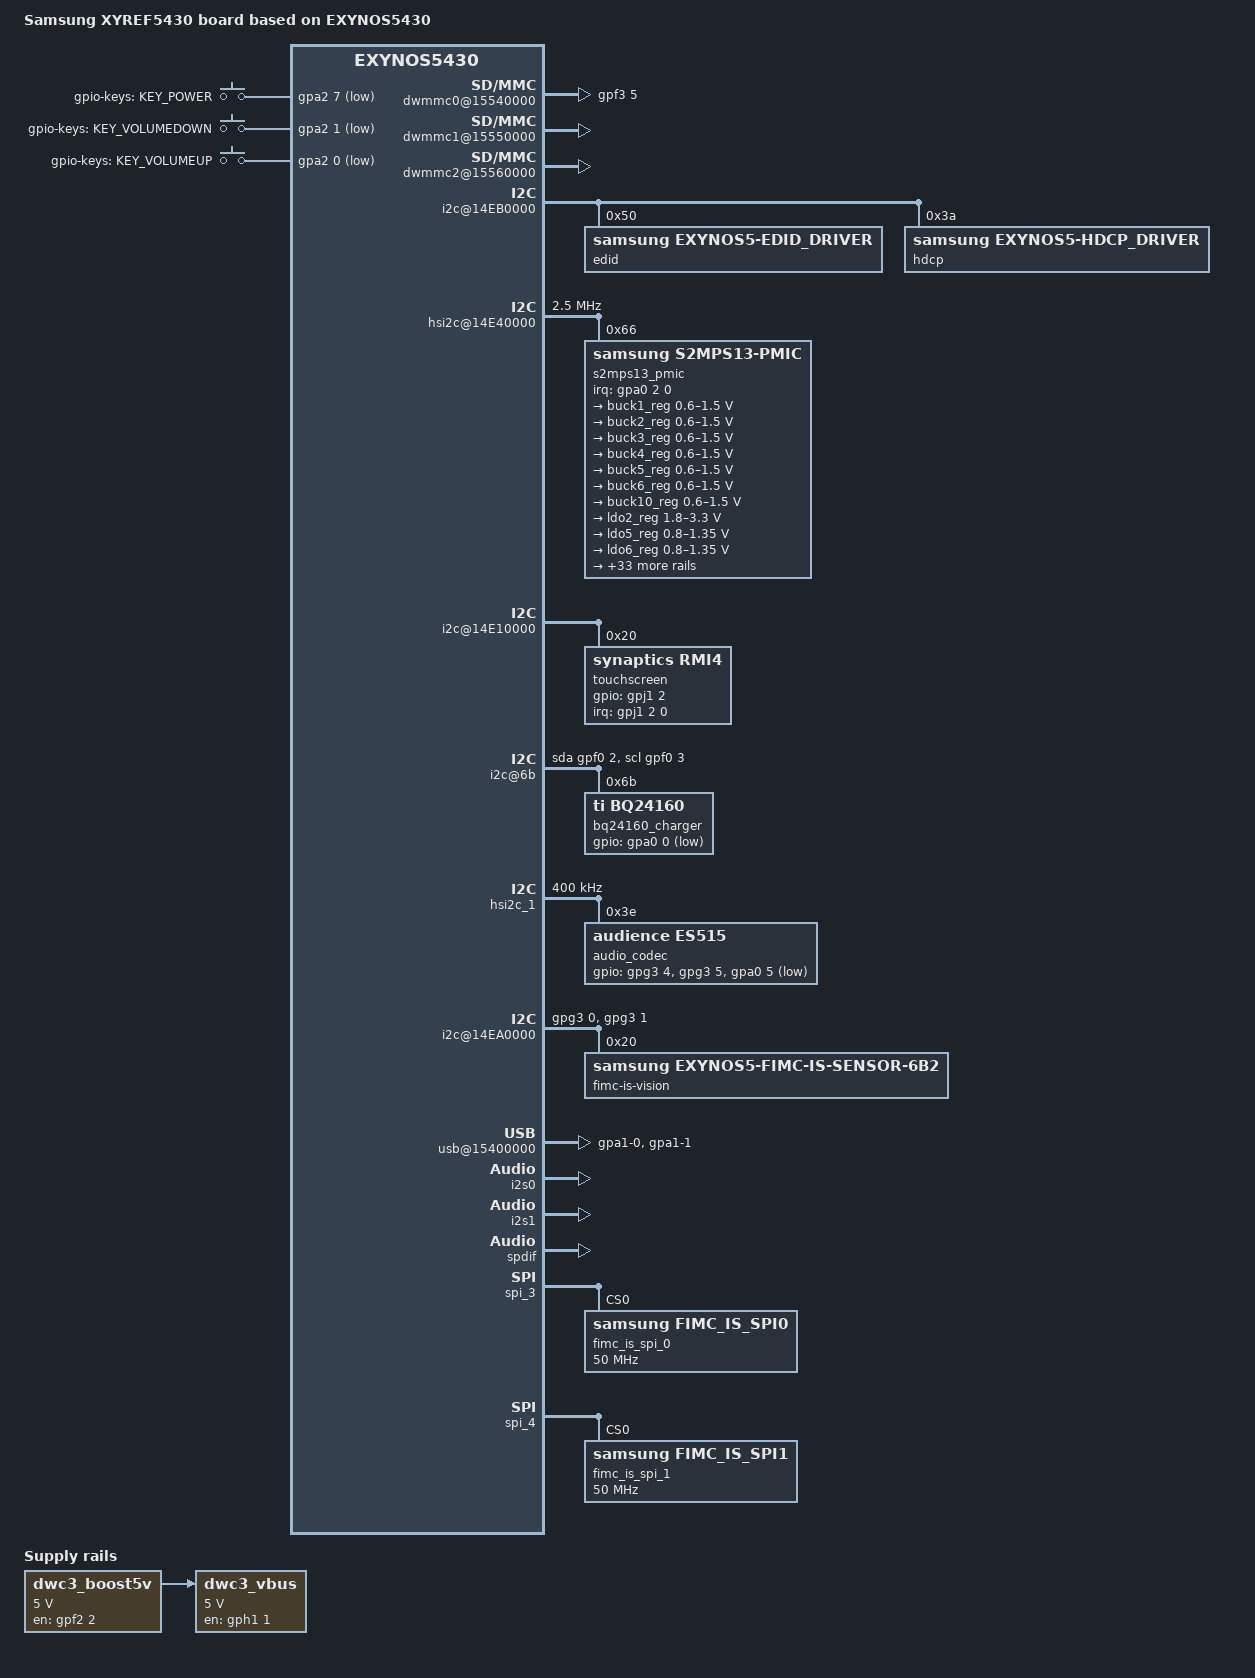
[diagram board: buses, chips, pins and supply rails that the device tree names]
/*
 * SAMSUNG XYREF5430 board device tree source
 *
 * Copyright (c) 2013 Samsung Electronics Co., Ltd.
 *		http://www.samsung.com
 *
 * This program is free software; you can redistribute it and/or modify
 * it under the terms of the GNU General Public License version 2 as
 * published by the Free Software Foundation.
*/

/dts-v1/;
#include "exynos5430.dtsi"

/ {
	model = "Samsung XYREF5430 board based on EXYNOS5430";
	compatible = "samsung,XYREF5430", "samsung,exynos5430";

	chosen {
		bootargs = "console=ttySAC2,115200 vmalloc=512M ess_setup=0x26000000 noexec=on";
	};

	fixed-rate-clocks {
		oscclk {
			compatible = "samsung,exynos5430-oscclk";
			clock-frequency = <24000000>;
		};
	};

	rtc {
		status = "okey";
	};

	dwmmc0@15540000 {
		status = "okay";
		num-slots = <1>;
		broken-cd;
		bypass-smu;
		fixed_volt;
		only_once_tune;
		extra_tuning;
		supports-highspeed;
		enable-cache-control;
		qos_int_level = <138000>;
		fifo-depth = <0x80>;
		card-detect-delay = <200>;
		samsung,dw-mshc-ciu-div = <3>;
		samsung,dw-mshc-sdr-timing = <1 2 3>;
		samsung,dw-mshc-ddr-timing = <2 3 3>;
		samsung,dw-mshc-hs200-timing = <0 3 3>;
		samsung,dw-mshc-ddr200-timing = <0 6 1>;
		samsung,dw-mshc-ddr200-delay-line = <100>;
		clk_pin = "gpr0-0";
		clk_addr = "15690000.pinctrl";
		clk_val = <0x3>;
		clk_str_num = <6>;
		num-ref-clks = <8>;
		ciu_clkin = <25 50 50 100 200 100 200 400>;
		pinctrl-names = "default";
		pinctrl-0 = <&sd0_clk &sd0_cmd &sd0_rdqs &sd0_bus1 &sd0_bus4 &sd0_bus8>;
		gpios = <&gpf3 5 0>;

		slot@0 {
			reg = <0>;
			bus-width = <8>;
		};
	};

	dwmmc1@15550000 {
		status = "okay";
		num-slots = <1>;
		fixed_volt;
		only_once_tune;
		supports-highspeed;
		qos_int_level = <133>;
		fifo-depth = <0x40>;
		card-detect-delay = <200>;
		samsung,dw-mshc-ciu-div = <3>;
		samsung,dw-mshc-sdr-timing = <1 2 3>;
		samsung,dw-mshc-ddr-timing = <2 3 3>;
		num-ref-clks = <8>;
		ciu_clkin = <25 50 50 100 200 100 200 400>;
		pinctrl-names = "default";
		pinctrl-0 = <&sd1_clk &sd1_cmd &sd1_bus1 &sd1_bus4>;

		slot@0 {
			reg = <0>;
			bus-width = <4>;
		};
	};


	dwmmc2@15560000 {
		status = "okay";
		num-slots = <1>;
		supports-highspeed;
		qos_int_level = <133>;
		cd-type = <1>;
		fifo-depth = <0x40>;
		card-detect-delay = <200>;
		samsung,dw-mshc-ciu-div = <3>;
		samsung,dw-mshc-sdr-timing = <1 2 3>;
		samsung,dw-mshc-ddr-timing = <2 3 3>;
		clk_pin = "gpr4-0";
		clk_addr = "15690000.pinctrl";
		clk_val = <0x2>;
		clk_str_num = <6>;
		num-ref-clks = <8>;
		ciu_clkin = <25 50 50 100 200 100 200 400>;
		pinctrl-names = "default";
		pinctrl-0 = <&sd2_clk &sd2_cmd &sd2_cd &sd2_bus1 &sd2_bus4>;

		slot@0 {
			reg = <0>;
			bus-width = <4>;
			disable-wp;
		};
	};

	pinctrl@10580000 {
		chg_irq: chg-irq {
			samsung,pins = "gpa0-0";
			samsung,pin-function = <0>;
			samsung,pin-pud = <3>;
			samsung,pin-drv = <3>;
		};

		pmic_irq: pmic-irq {
			samsung,pins = "gpa0-2";
			samsung,pin-pud = <3>;
			samsung,pin-drv = <3>;
		};
	};

	pinctrl@14CC0000 {
		/* Warm reset information from AP */
		pm_wrsti: pm-wrsti {
			samsung,pins = "gpf5-4";
			samsung,pin-con-pdn = <3>;
		};
	};

	i2c@14EB0000 {
		status = "okay";
		samsung,i2c-sda-delay = <500>;
		/* hdmi edid dirver */
		edid@50 {
			compatible = "samsung,exynos5-edid_driver";
			reg = <0x50>;
		};

		/* hdmi hdcp dirver */
		hdcp@3A {
			compatible = "samsung,exynos5-hdcp_driver";
			reg = <0x3A>;
		};
	};

	hsi2c@14E40000 {
		samsung,hs-mode;
		clock-frequency = <2500000>;
		status = "okay";

		s2mps13_pmic@66 {
			compatible = "samsung,s2mps13-pmic";
			reg = <0x66>;
			interrupts = <2 0 0>;
			interrupt-parent = <&gpa0>;
			pinctrl-names = "default";
			pinctrl-0 = <&pmic_irq &pm_wrsti>;
			wtsr_smpl = <1>;

			regulators {
				buck1_reg: BUCK1 {
					regulator-name = "vdd_mif";
					regulator-min-microvolt = <600000>;
					regulator-max-microvolt = <1500000>;
					regulator-always-on;
					regulator-boot-on;
					regulator-ramp-delay = <12000>;
					regulator-initial-mode = <1>;
				};

				buck2_reg: BUCK2 {
					regulator-name = "vdd_eagle";
					regulator-min-microvolt = <600000>;
					regulator-max-microvolt = <1500000>;
					regulator-always-on;
					regulator-boot-on;
					regulator-ramp-delay = <12000>;
					regulator-initial-mode = <1>;
				};

				buck3_reg: BUCK3 {
					regulator-name = "vdd_kfc";
					regulator-min-microvolt = <600000>;
					regulator-max-microvolt = <1500000>;
					regulator-always-on;
					regulator-boot-on;
					regulator-ramp-delay = <12000>;
					regulator-initial-mode = <1>;
				};

				buck4_reg: BUCK4 {
					regulator-name = "vdd_int";
					regulator-min-microvolt = <600000>;
					regulator-max-microvolt = <1500000>;
					regulator-always-on;
					regulator-boot-on;
					regulator-ramp-delay = <12000>;
					regulator-initial-mode = <1>;
				};

				buck5_reg: BUCK5 {
					regulator-name = "vdd_disp_cam0";
					regulator-min-microvolt = <600000>;
					regulator-max-microvolt = <1500000>;
					regulator-always-on;
					regulator-boot-on;
					regulator-ramp-delay = <12000>;
					regulator-initial-mode = <1>;
				};

				buck6_reg: BUCK6 {
					regulator-name = "vdd_g3d";
					regulator-min-microvolt = <600000>;
					regulator-max-microvolt = <1500000>;
					regulator-always-on;
					regulator-boot-on;
					regulator-ramp-delay = <12000>;
					regulator-initial-mode = <1>;
				};

				buck10_reg: BUCK10 {
					regulator-name = "vdd_mem2";
					regulator-min-microvolt = <600000>;
					regulator-max-microvolt = <1500000>;
					regulator-always-on;
					regulator-boot-on;
					regulator-ramp-delay = <12000>;
					regulator-initial-mode = <1>;
				};

				ldo2_reg: LDO2 {
					regulator-name = "vqmmc";
					regulator-min-microvolt = <1800000>;
					regulator-max-microvolt = <3300000>;
					regulator-boot-on;
					regulator-ramp-delay = <12000>;
					regulator-initial-mode = <1>;
				};

				ldo5_reg: LDO5 {
					regulator-name = "vdd_ldo5";
					regulator-min-microvolt = <800000>;
					regulator-max-microvolt = <1350000>;
					regulator-always-on;
					regulator-initial-mode = <1>;
				};

				ldo6_reg: LDO6 {
					regulator-name = "vdd_ldo6";
					regulator-min-microvolt = <800000>;
					regulator-max-microvolt = <1350000>;
					regulator-always-on;
					regulator-initial-mode = <1>;
				};

				ldo7_reg: LDO7 {
					regulator-name = "vdd_ldo7";
					regulator-min-microvolt = <1000000>;
					regulator-max-microvolt = <2100000>;
					regulator-always-on;
					regulator-initial-mode = <1>;
				};

				ldo8_reg: LDO8 {
					regulator-name = "vdd_ldo8";
					regulator-min-microvolt = <1000000>;
					regulator-max-microvolt = <2100000>;
					regulator-always-on;
					regulator-initial-mode = <3>;
				};

				ldo9_reg: LDO9 {
					regulator-name = "vdd_ldo9";
					regulator-min-microvolt = <1000000>;
					regulator-max-microvolt = <2100000>;
					regulator-always-on;
					regulator-initial-mode = <1>;
				};

				ldo10_reg: LDO10 {
					regulator-name = "vdd_ldo10";
					regulator-min-microvolt = <1400000>;
					regulator-max-microvolt = <3400000>;
					regulator-always-on;
					regulator-initial-mode = <1>;
				};

				ldo11_reg: LDO11 {
					regulator-name = "vdd_ldo11";
					regulator-min-microvolt = <800000>;
					regulator-max-microvolt = <1350000>;
					regulator-always-on;
					regulator-initial-mode = <1>;
				};

				ldo12_reg: LDO12 {
					regulator-name = "vdd_ldo12";
					regulator-min-microvolt = <800000>;
					regulator-max-microvolt = <1350000>;
					regulator-always-on;
					regulator-initial-mode = <1>;
				};

				ldo13_reg: LDO13 {
					regulator-name = "vdd_ldo13";
					regulator-min-microvolt = <800000>;
					regulator-max-microvolt = <1350000>;
					regulator-always-on;
					regulator-initial-mode = <1>;
				};

				ldo14_reg: LDO14 {
					regulator-name = "vdd_ldo14";
					regulator-min-microvolt = <800000>;
					regulator-max-microvolt = <1350000>;
					regulator-always-on;
					regulator-initial-mode = <1>;
				};

				ldo15_reg: LDO15 {
					regulator-name = "vdd_ldo15";
					regulator-min-microvolt = <800000>;
					regulator-max-microvolt = <1350000>;
					regulator-always-on;
					regulator-initial-mode = <1>;
				};

				ldo16_reg: LDO16 {
					regulator-name = "vdd_ldo16";
					regulator-min-microvolt = <1400000>;
					regulator-max-microvolt = <3400000>;
					regulator-always-on;
					regulator-initial-mode = <1>;
				};

				ldo17_reg: LDO17 {
					regulator-name = "vdd_vmmc";
					regulator-min-microvolt = <1400000>;
					regulator-max-microvolt = <3400000>;
					regulator-always-on;
					regulator-initial-mode = <1>;
				};

				ldo18_reg: LDO18 {
					regulator-name = "vdd_ldo18";
					regulator-min-microvolt = <1000000>;
					regulator-max-microvolt = <2100000>;
					regulator-initial-mode = <3>;
				};

				ldo19_reg: LDO19 {
					regulator-name = "vdd_ldo19";
					regulator-min-microvolt = <1000000>;
					regulator-max-microvolt = <2100000>;
					regulator-always-on;
					regulator-initial-mode = <3>;
				};

				ldo20_reg: LDO20 {
					regulator-name = "vdd_ldo20";
					regulator-min-microvolt = <1400000>;
					regulator-max-microvolt = <3400000>;
					regulator-always-on;
					regulator-initial-mode = <3>;
				};

				ldo21_reg: LDO21 {
					regulator-name = "vdd_ldo21";
					regulator-min-microvolt = <1000000>;
					regulator-max-microvolt = <2100000>;
					regulator-always-on;
					regulator-initial-mode = <3>;
				};

				ldo22_reg: LDO22 {
					regulator-name = "vdd_ldo22";
					regulator-min-microvolt = <1000000>;
					regulator-max-microvolt = <2100000>;
					regulator-always-on;
					regulator-initial-mode = <3>;
				};

				ldo23_reg: LDO23 {
					regulator-name = "vdd_ldo23";
					regulator-min-microvolt = <800000>;
					regulator-max-microvolt = <1350000>;
					regulator-always-on;
					regulator-initial-mode = <3>;
				};

				ldo24_reg: LDO24 {
					regulator-name = "vdd_ldo24";
					regulator-min-microvolt = <800000>;
					regulator-max-microvolt = <1350000>;
					regulator-always-on;
					regulator-initial-mode = <3>;
				};

				ldo25_reg: LDO25 {
					regulator-name = "vdd_ldo25";
					regulator-min-microvolt = <1400000>;
					regulator-max-microvolt = <3400000>;
					regulator-always-on;
					regulator-initial-mode = <3>;
				};

				ldo26_reg: LDO26 {
					regulator-name = "vdd_ldo26";
					regulator-min-microvolt = <1400000>;
					regulator-max-microvolt = <3400000>;
					regulator-always-on;
					regulator-initial-mode = <3>;
				};

				ldo27_reg: LDO27 {
					regulator-name = "vdd_ldo27";
					regulator-min-microvolt = <1400000>;
					regulator-max-microvolt = <3400000>;
					regulator-always-on;
					regulator-initial-mode = <3>;
				};

				ldo28_reg: LDO28 {
					regulator-name = "vdd_ldo28";
					regulator-min-microvolt = <1000000>;
					regulator-max-microvolt = <2100000>;
					regulator-always-on;
					regulator-initial-mode = <3>;
				};

				ldo29_reg: LDO29 {
					regulator-name = "vdd_ldo29";
					regulator-min-microvolt = <1400000>;
					regulator-max-microvolt = <3400000>;
					regulator-always-on;
					regulator-initial-mode = <3>;
				};

				ldo30_reg: LDO30 {
					regulator-name = "tsp_avdd";
					regulator-min-microvolt = <1400000>;
					regulator-max-microvolt = <3400000>;
					regulator-always-on;
					regulator-initial-mode = <3>;
				};

				ldo31_reg: LDO31 {
					regulator-name = "tsp_io";
					regulator-min-microvolt = <1000000>;
					regulator-max-microvolt = <2100000>;
					regulator-always-on;
					regulator-initial-mode = <3>;
				};

				ldo32_reg: LDO32 {
					regulator-name = "vdd_ldo32";
					regulator-min-microvolt = <1000000>;
					regulator-max-microvolt = <2100000>;
					regulator-always-on;
					regulator-initial-mode = <3>;
				};

				ldo33_reg: LDO33 {
					regulator-name = "vdd_ldo33";
					regulator-min-microvolt = <1400000>;
					regulator-max-microvolt = <3400000>;
					regulator-always-on;
					regulator-initial-mode = <3>;
				};

				ldo34_reg: LDO34 {
					regulator-name = "vdd_ldo34";
					regulator-min-microvolt = <1000000>;
					regulator-max-microvolt = <2100000>;
					regulator-always-on;
					regulator-initial-mode = <3>;
				};
				ldo36_reg: LDO36 {
					regulator-name = "vdd_ldo36";
					regulator-min-microvolt = <800000>;
					regulator-max-microvolt = <1350000>;
					regulator-always-on;
					regulator-initial-mode = <3>;
				};

				ldo37_reg: LDO37 {
					regulator-name = "vdd_ldo37";
					regulator-min-microvolt = <1000000>;
					regulator-max-microvolt = <2100000>;
					regulator-always-on;
					regulator-initial-mode = <3>;
				};

				ldo38_reg: LDO38 {
					regulator-name = "vdd_ldo38";
					regulator-min-microvolt = <1400000>;
					regulator-max-microvolt = <3400000>;
					regulator-always-on;
					regulator-initial-mode = <3>;
				};

				ldo39_reg: LDO39 {
					regulator-name = "vdd_ldo39";
					regulator-min-microvolt = <1400000>;
					regulator-max-microvolt = <3400000>;
					regulator-always-on;
					regulator-initial-mode = <3>;
				};

				ldo40_reg: LDO40 {
					regulator-name = "vdd_ldo40";
					regulator-min-microvolt = <1400000>;
					regulator-max-microvolt = <3400000>;
					regulator-always-on;
				};
			};
		};
	};

	i2c@14E10000 {
		status = "okay";
		samsung,i2c-sda-delay = <100>;
		samsung,i2c-max-bus-freq = <400000>;
		#size-cells = <0>;
		status = "okay";
		touchscreen@20 {
			compatible = "synaptics,rmi4";
			reg = <0x20>;
			interrupts = <2 0 0>;
			interrupt-parent = <&gpj1>;
			gpios = <&gpj1 2 0>;
			sensor_max_x = <1079>;
			sensor_max_y = <1919>;
			max_touch_width = <28>;
			irq_type = <8200>;
			firmware_name = "tsp_synaptics/synaptics_b0_h.fw";
			fac_firmware_name = "tsp_synaptics/synaptics_b0_fac.fw";
			num_of_rx = <28>;
			num_of_tx = <16>;
			panel_revision = <8>;
		};


	};

	i2c@6b {
		compatible = "i2c-gpio";
		gpios = <&gpf0 2 0 /* sda */
			 &gpf0 3 0 /* scl */
			>;
		i2c-gpio,delay-us = <2>;	/* ~100kHz */
		#address-cells = <1>;
		#size-cells = <0>;
		status = "okay";

		bq24160_charger@6b {
			compatible = "ti,bq24160";
			reg = <0x6b>;
			gpios = <&gpa0 0 0xf>;
			pinctrl-names = "default";
			pinctrl-0 = <&chg_irq>;
			dev_name = "bq24160";
			support_boot_charging = <0>;
		};
	};

	hsi2c_1: hsi2c@14E50000 {
		compatible = "samsung,exynos5-hsi2c";
		clock-frequency = <400000>;	/* 400KHz */
		status = "okay";
		audio_codec: codec@3e {
			compatible = "audience,es515";
			reg = <0x3E>;
			gpios = <&gpg3 4 0	/* reset */
				 &gpg3 5 0	/* wakeup */
				 &gpa0 5 0xF>;	/* interrupt */
			pinctrl-names = "default";
			pinctrl-0 = <&codec_ctl &codec_irq>;
		};
	};

	i2c@14EA0000 {
		gpios = <&gpg3 0 0 &gpg3 1 0 >;
		status = "okay";
		samsung,i2c-sda-delay = <100>;
		samsung,i2c-max-bus-freq = <400000>;
		status = "okay";
		fimc-is-vision@20 {
			compatible = "samsung,exynos5-fimc-is-sensor-6b2";
			reg = <0x20>;
		};
	};

	pinctrl@14CC0000 {
		codec_ctl: codec-ctl {
			samsung,pins = "gpg3-4", "gpg3-5";
			samsung,pin-con-pdn = <3>;
		};
	};

	pinctrl@10580000 {
		codec_irq: codec-irq {
			samsung,pins = "gpa0-5";
			samsung,pin-con-pdn = <3>;
		};
	};

	spi_0: spi@14d20000 {
		status = "disabled";
	};

	spi_1: spi@14d30000 {
		status = "disabled";
	};

	spi_2: spi@14d40000 {
		status = "disabled";
	};

	/*disp_driver {*/
	decon_fb: decon_fb {
		decon: decon_ctrl {
			samsung,max_bpp = <32>;
			samsung,default_bpp = <24>;

			fb_driver_data {
				fb_win_variant_0 {
					has_osd_c = <1>;
					has_osd_d = <1>;
					osd_size_off = <0x08>;
					palette_size = <256>;
					VALID_BPP_1248 = <1>;
					VALID_BPP_13 = <1>;
					VALID_BPP_15 = <1>;
					VALID_BPP_16 = <1>;
					VALID_BPP_18 = <1>;
					VALID_BPP_19 = <1>;
					VALID_BPP_24 = <1>;
					VALID_BPP_25 = <1>;
					VALID_BPP_32 = <1>;
				};
				fb_win_variant_1 {
					has_osd_c = <1>;
					has_osd_d = <1>;
					has_osd_alpha = <1>;
					osd_size_off = <0x0c>;
					palette_size = <256>;
					VALID_BPP_1248 = <1>;
					VALID_BPP_13 = <1>;
					VALID_BPP_15 = <1>;
					VALID_BPP_16 = <1>;
					VALID_BPP_18 = <1>;
					VALID_BPP_19 = <1>;
					VALID_BPP_24 = <1>;
					VALID_BPP_25 = <1>;
					VALID_BPP_32 = <1>;
				};
				fb_win_variant_2 {
					has_osd_c = <1>;
					has_osd_d = <1>;
					has_osd_alpha = <1>;
					osd_size_off = <0x0c>;
					palette_size = <256>;
					VALID_BPP_1248 = <1>;
					VALID_BPP_13 = <1>;
					VALID_BPP_15 = <1>;
					VALID_BPP_16 = <1>;
					VALID_BPP_18 = <1>;
					VALID_BPP_19 = <1>;
					VALID_BPP_24 = <1>;
					VALID_BPP_25 = <1>;
					VALID_BPP_32 = <1>;
				};
				fb_win_variant_3 {
					has_osd_c = <1>;
					has_osd_alpha = <1>;
					palette_size = <256>;
					VALID_BPP_1248 = <1>;
					VALID_BPP_13 = <1>;
					VALID_BPP_15 = <1>;
					VALID_BPP_16 = <1>;
					VALID_BPP_18 = <1>;
					VALID_BPP_19 = <1>;
					VALID_BPP_24 = <1>;
					VALID_BPP_25 = <1>;
					VALID_BPP_32 = <1>;
				};
				fb_win_variant_4 {
					has_osd_c = <1>;
					has_osd_alpha = <1>;
					palette_size = <256>;
					VALID_BPP_1248 = <1>;
					VALID_BPP_13 = <1>;
					VALID_BPP_15 = <1>;
					VALID_BPP_16 = <1>;
					VALID_BPP_18 = <1>;
					VALID_BPP_19 = <1>;
					VALID_BPP_24 = <1>;
					VALID_BPP_25 = <1>;
					VALID_BPP_32 = <1>;
				};
			};
		};

		mipi_dsi: mipi_dsi {
			gpios = <&gpf0 0 0x1>;

			/* Interface definition: 0 - DSIM_COMMAND,
						 1 - DSIM_VDEO */
			e_interface = <0>;

			/* Pixel format : 0 - DSIM_CMD_3BPP,
					  1 - DSIM_CMD_8BPP,
					  2 - DSIM_CMD_12BPP,
					  3 - DSIM_CMD_16BPP,
					  4 - DSIM_VID_16BPP_565,
					  5 - DSIM_VID_18BPP_666PACKED,
					  6 - DSIM_18BPP_666LOOSELYPACKED,
					  7 - DSIM_24BPP_888 */
			e_pixel_format = <7>;

			/* main frame fifo auto flush at VSYNC pulse */
			auto_flush = <0>;
			eot_disable = <1>;
			auto_vertical_cnt = <0>;
			hse = <0>;
			hfp = <0>;
			hbp = <0>;
			hsa = <0>;

			/* num of data lane : 0 - DSIM_DATA_LANE_1,
					      1 - DSIM_DATA_LANE_2,
					      2 - DSIM_DATA_LANE_3,
					      3 - DSIM_DATA_LANE_4 */
			e_no_data_lane = <3>;
			/* byte clock divider : 0 - DSIM_PLL_OUT_DIV8,
						1 - DSIM_EXT_CLK_DIV8,
						2 - DSIM_EXT_CLK_BYPASS */
			e_byte_clk = <0>;
			/* Burst mode : 0 - DSIM_NON_BURST_SYNC_EVENT,
					2 - DSIM_NON_BURST_SYNC_PULSE,
					1 - DSIM_BURST
					4 - DSIM_NON_VIDEO_MODE */
			e_burst_mode = <1>;

			/* D-PHY PLL stable time spec :min = 200usec ~ max 400usec */
			pll_stable_time = <500>;
			/* escape clk : 7MHz */
			esc_clk = <7000000>;
			/* stop state holding counter after bta change count 0 ~ 0xfff */
			stop_holding_cnt = <0x0fff>;
			/* bta timeout 0 ~ 0xff */
			bta_timeout = <0xff>;
			/* lp rx timeout 0 ~ 0xffff */
			rx_timeout = <0xffff>;
		};

		decon_mic: decon_mic {
			sysreg1 = <0x13B81004>;
			sysreg2 = <0x13B81048>;
		};
	};



	pinctrl@10580000 {
		b_sess_irq: b-sess-irq {
			samsung,pins = "gpa1-0";
			samsung,pin-function = <0xf>;
			samsung,pin-pud = <0>;
		};

		id_irq: id-irq {
			samsung,pins = "gpa1-1";
			samsung,pin-function = <0xf>;
			samsung,pin-pud = <3>;
		};

		sw_id_irq: sw-id-irq {
			samsung,pins = "gpa3-7";
			samsung,pin-function = <0xf>;
			samsung,pin-pud = <3>;
		};

	};

	dwc3_boost5v: fixedregulator@0 {
		compatible = "regulator-fixed";
		regulator-name = "VUSB_BOOST_5V";
		regulator-min-microvolt = <5000000>;
		regulator-max-microvolt = <5000000>;
		gpio = <&gpf2 2 1>;
		enable-active-high;
	};

	dwc3_vbus: fixedregulator@1 {
		compatible = "regulator-fixed";
		regulator-name = "VUSB_DRD_CON_5V";
		regulator-min-microvolt = <5000000>;
		regulator-max-microvolt = <5000000>;
		gpio = <&gph1 1 1>;
		enable-active-high;
		vin-supply = <&dwc3_boost5v>;
	};

	usb@15400000 {
		dwc3-vbus-supply = <&dwc3_vbus>;
		samsung,bsess-gpio = <&gpa1 0 0xf>;
		samsung,id-gpio = <&gpa1 1 0xf>;
		pinctrl-names = "default";
		pinctrl-0 = <&b_sess_irq &id_irq>;
		status = "okay";

		dwc3 {
			maximum-speed = "super-speed";
			dr_mode = "otg";
		};
	};

	usb@15510000 {
		samsung,vbus-gpio = <&gph1 3 0>;
		samsung,boost5v-gpio = <&gpf3 0 0>;
	};

	usb-switch {
		samsung,vbus-gpio = <&gph1 3 0>;
		samsung,id-gpio = <&gpa3 7  0xf>;
		pinctrl-names = "default";
		pinctrl-0 = <&sw_id_irq>;
	};

	gpio_keys {
		compatible = "gpio-keys";
		#address-cells = <1>;
		#size-cells = <0>;
		poll-interval = <100>;
		button@1 {
			label = "gpio-keys: KEY_POWER";
			interrupts = <7 0 0>;
			interrupt-parent = <&gpa2>;
			linux,code = <116>;
			gpios = <&gpa2 7 0xf>;
			gpio-key,wakeup = <1>;
		};
		button@2 {
			label = "gpio-keys: KEY_VOLUMEDOWN";
			interrupts = <1 0 0>;
			interrupt-parent = <&gpa2>;
			linux,code = <114>;
			gpios = <&gpa2 1 0xf>;
		};
		button@3 {
			label = "gpio-keys: KEY_VOLUMEUP";
			interrupts = <0 0 0>;
			interrupt-parent = <&gpa2>;
			linux,code = <115>;
			gpios = <&gpa2 0 0xf>;
		};
	};

	i2s0: i2s@11440000 {
		status = "okay";
	};

	i2s1: i2s@14D60000 {
		status = "okay";
	};

	spdif: spdif@14DB0000 {
		status = "okay";
	};

	audio_codec_dummy: dummy-codec {
		compatible = "samsung,dummy-codec";
		status = "okay";
	};

	sound {
		compatible = "samsung,xyref-es515";
		samsung,audio-cpu = <&i2s0		/* primary */
				     &i2s0>;		/* secondary */
		samsung,audio-cpu-hdmi = <&i2s1>;	/* hdmi */
		samsung,audio-cpu-spdif = <&spdif>;	/* spdif */
		samsung,audio-codec = <&audio_codec
				       &audio_codec
				       &audio_codec_dummy
				       &audio_codec_dummy>;
		status = "okay";
	};

	spi_3: spi@141a0000 {
		#address-cells = <1>;
		#size-cells = <0>;

		fimc_is_spi_0@0 {
			compatible = "samsung,fimc_is_spi0";
			spi-max-frequency = <50000000>;
			reg = <0x0>;

			controller-data {
				samsung,spi-feedback-delay = <0>;
			};
		};
	};

	spi_4: spi@141b0000 {
		#address-cells = <1>;
		#size-cells = <0>;

		fimc_is_spi_1@0 {
			compatible = "samsung,fimc_is_spi1";
			spi-max-frequency = <50000000>;
			reg = <0x0>;
			pinctrl-names = "default";
			pinctrl-0 = <&fimc_is_comp_int>;

			controller-data {
				samsung,spi-feedback-delay = <0>;
			};
		};
	};

	fimc_is_sensor0: fimc_is_sensor@12100000 {
		scenario = <0>;
		gpio_reset = <&gpc0 1 0x1>;
		gpios_comp_en = <&gpd4 2 0x1>; /* COMP_EN */
		gpios_comp_reset = <&gpg3 6 0x1>; /* COMP_rstn */
		gpios_board_rev =<&gpf3 2 0x1 /* BOARD_REVIRION */
				&gpf3 3 0x1>; /* BOARD_REVIRION */
		id = <0>;
		mclk_ch = <0>;
		csi_ch = <0>;
		flite_ch = <0>;
		i2c_ch = <0x0000>;
		i2c_addr = <0x2020>;
		flash_first_gpio = <2>;
		flash_second_gpio = <3>;
		is_bns = <1>;
		status = "okay";
	};

	fimc_is_sensor1: fimc_is_sensor@12110000 {
		scenario = <0>;
		gpio_reset = <&gpc0 4 0x1>;
		gpio_standby = <&gpc0 0 0x1>;
		gpios_board_rev =<&gpf3 2 0x1 /* BOARD_REVIRION */
				&gpf3 3 0x1>; /* BOARD_REVIRION */
		id = <1>;
		mclk_ch = <1>;
		csi_ch = <1>;
		flite_ch = <1>;
		i2c_ch = <0x1>;
		i2c_addr = <0x20>;
		is_bns = <0>;
		status = "okay";
	};

	fimc_is@14000000 {
		fimc_is_dvfs {
			default_int = <543000>; /* L0 */
			default_cam = <777000>; /* L0 */
			default_mif = <825000>; /* L0 */
			default_i2c = <0>;

			front_preview_int = <317000>; /* L0 */
			front_preview_cam = <222000>; /* L5 */
			front_preview_mif = <825000>; /* L0 */
			front_preview_i2c = <0>;

			front_capture_int = <317000>; /* L0 */
			front_capture_cam = <222000>; /* L5 */
			front_capture_mif = <825000>; /* L0 */
			front_capture_i2c = <0>;

			front_camcording_int = <317000>; /* L0 */
			front_camcording_cam = <222000>; /* L5 */
			front_camcording_mif = <825000>; /* L0 */
			front_camcording_i2c = <0>;

			front_vt1_int = <317000>; /* L0 */
			front_vt1_cam = <222000>; /* L5 */
			front_vt1_mif = <825000>; /* L0 */
			front_vt1_i2c = <0>;

			front_vt2_int = <317000>; /* L0 */
			front_vt2_cam = <222000>; /* L5 */
			front_vt2_mif = <825000>; /* L0 */
			front_vt2_i2c = <0>;

			rear_preview_fhd_int = <317000>; /* L0 */
			rear_preview_fhd_cam = <333000>; /* L4 */
			rear_preview_fhd_mif = <825000>; /* L0 */
			rear_preview_fhd_i2c = <0>;

			rear_preview_whd_int = <317000>; /* L0 */
			rear_preview_whd_cam = <333000>; /* L4 */
			rear_preview_whd_mif = <825000>; /* L0 */
			rear_preview_whd_i2c = <0>;

			rear_preview_uhd_int = <317000>; /* L0 */
			rear_preview_uhd_cam = <555000>; /* L2 */
			rear_preview_uhd_mif = <825000>; /* L0 */
			rear_preview_uhd_i2c = <0>;

			rear_capture_int = <317000>; /* L0 */
			rear_capture_cam = <666000>; /* L1 */
			rear_capture_mif = <825000>; /* L0 */
			rear_capture_i2c = <0>;

			rear_camcording_int = <317000>; /* L0 */
			rear_camcording_cam = <555000>; /* L2 */
			rear_camcording_mif = <825000>; /* L0 */
			rear_camcording_i2c = <0>;

			dual_preview_int = <543000>; /* L0 */
			dual_preview_cam = <444000>; /* L3 */
			dual_preview_mif = <825000>; /* L0 */
			dual_preview_i2c = <0>;

			dual_capture_int = <543000>; /* L0 */
			dual_capture_cam = <777000>; /* L0 */
			dual_capture_mif = <825000>; /* L0 */
			dual_capture_i2c = <0>;

			dual_camcording_int = <543000>; /* L0 */
			dual_camcording_cam = <444000>; /* L3 */
			dual_camcording_mif = <825000>; /* L0 */
			dual_camcording_i2c = <0>;

			high_speed_fps_int = <543000>; /* L0 */
			high_speed_fps_cam = <777000>; /* L0 */
			high_speed_fps_mif = <825000>; /* L0 */
			high_speed_fps_i2c = <0>;

			dis_enable_int = <543000>; /* L0 */
			dis_enable_cam = <777000>; /* L0 */
			dis_enable_mif = <825000>; /* L0 */
			dis_enable_i2c = <0>;

			max_int = <543000>; /* L0 */
			max_cam = <777000>; /* L0 */
			max_mif = <825000>; /* L0 */
			max_i2c = <0>;
		};
	};

	pinctrl@14CC0000 {
		fimc_is_flash: fimc-is-flash {
			samsung,pins = "gpc0-3", "gpc0-2";
			samsung,pin-function = <2>;
			samsung,pin-pud = <0>;
			samsung,pin-drv = <0>;
		};
		fimc_is_comp_int: fimc-is-comp-int {
			samsung,pins = "gpc1-0";
			samsung,pin-function = <3>;
			samsung,pin-pud = <0>;
			samsung,pin-drv = <0>;
		};
	};

	ion {
		compatible = "samsung,exynos5430-ion";

		contig-names = "common",
			       "mfc_sh",
			       "g2d_wfd",
			       "video",
			       "mfc_input",
			       "sectbl",
			       "mfc_fw",
			       "mfc_nfw",
			       "secdma";

		contig = <0 0x6650000 0x0>,
		         <2 0x200000 0x0>,
		         <10 0x800000 0x0>,
		         <11 0x14000000 0x0>,
		         <7 0x2400000 0x0>,
		         <9 0x400000 0x0>,
		         <8 0x400000 0x0>,
		         <12 0x400000 0x0>,
		         <13 0x400000 0x0>;

		ion_noncontig_heap {
			id-type = <0 0>;
		};

		exynos_contig_heap {
			id-type = <4 6>;
		};
	};
};
